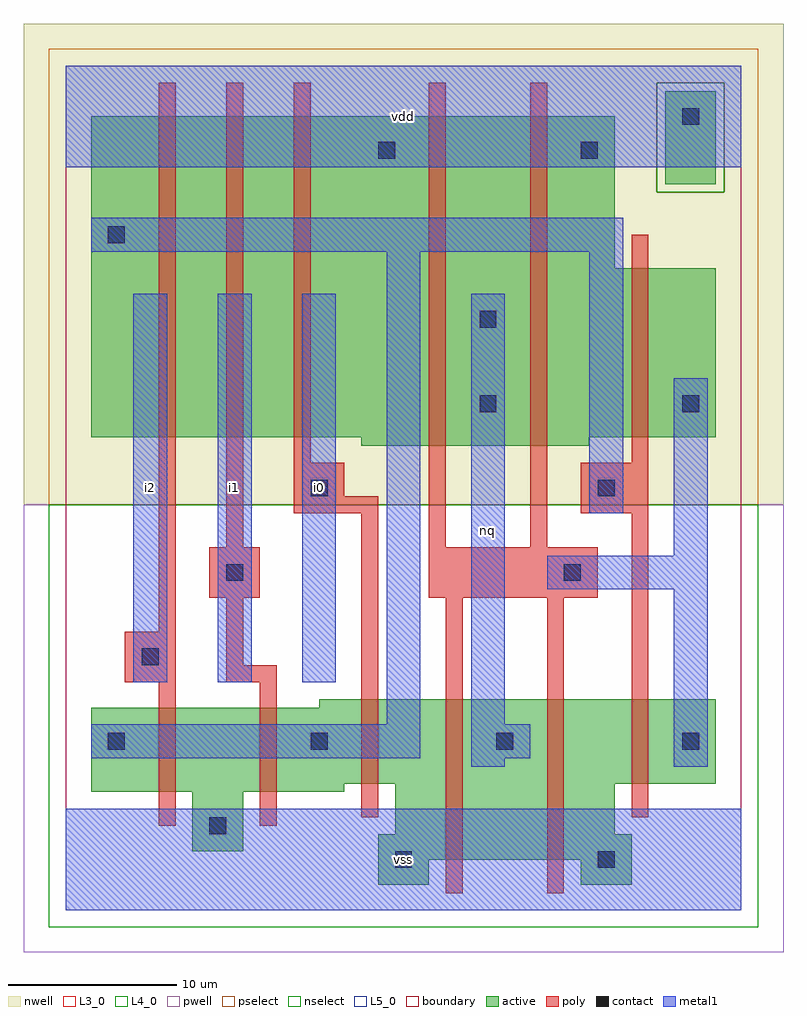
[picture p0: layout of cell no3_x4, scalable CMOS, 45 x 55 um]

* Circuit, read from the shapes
.subckt no3_x4 i0 i1 i2 nq vdd vss
M1 vss i2 n1 VSUBS nfet w=5u l=1u
M2 n1 i1 vss VSUBS nfet w=5u l=1u
M3 vss i0 n1 VSUBS nfet w=5u l=1u
M4 nq n2 vss VSUBS nfet w=9.5u l=1u m=2
M5 n2 n1 vss VSUBS nfet w=5u l=1u
M6 n3 i2 n1 vdd pfet w=19u l=1u
M7 n4 i1 n3 vdd pfet w=19u l=1u
M8 vdd i0 n4 vdd pfet w=19u l=1u
M9 nq n2 vdd vdd pfet w=19.5u l=1u m=2
M10 n2 n1 vdd vdd pfet w=10u l=1u
.ends

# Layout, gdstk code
import gdstk
lib = gdstk.Library(unit=1e-6, precision=1e-09)
def R(c, l, rs):  # rectangles x0, y0, x1, y1
    for r in rs: c.add(gdstk.rectangle(r[:2], r[2:], *l))
def A(c, l, x, y, w, h, nx, ny, dx, dy):  # array of equal rectangles
    R(c, l, [(x+i*dx, y+j*dy, x+i*dx+w, y+j*dy+h) for i in range(nx) for j in range(ny)])
L3_0 = (3, 0)
L4_0 = (4, 0)
L5_0 = (5, 0)
contact = (25, 0)
pwell = (41, 0)
nwell = (42, 0)
active = (43, 0)
pselect = (44, 0)
nselect = (45, 0)
poly = (46, 0)
metal1 = (49, 0)
boundary = (63, 0)

no3_x4 = lib.new_cell('no3_x4')
R(no3_x4, L3_0, [(18.5,1.5,21.5,3), (30.5,1.5,33.5,3), (18.5,3,33.5,4.5), (7.5,3.5,10.5,7), (19.5,4.5,32.5,7.5), (1.5,7,16.5,7.5), (1.5,7.5,38.5,12), (15,12,38.5,12.5)])
R(no3_x4, L4_0, [(17.5,27.5,31,28), (1.5,28,38.5,38), (1.5,38,32.5,47)])
R(no3_x4, L5_0, [(35.5,43,38.5,48.5)])
A(no3_x4, contact, 14.5, 9.5, 1, 1, 3, 1, 11, 0)
R(no3_x4, contact, [(19.5,2.5,20.5,3.5), (31.5,2.5,32.5,3.5), (8.5,4.5,9.5,5.5), (2.5,9.5,3.5,10.5), (4.5,14.5,5.5,15.5), (9.5,19.5,10.5,20.5), (29.5,19.5,30.5,20.5), (14.5,24.5,15.5,25.5), (31.5,24.5,32.5,25.5), (24.5,29.5,25.5,30.5), (36.5,29.5,37.5,30.5), (24.5,34.5,25.5,35.5), (2.5,39.5,3.5,40.5), (18.5,44.5,19.5,45.5), (30.5,44.5,31.5,45.5), (36.5,46.5,37.5,47.5)])
R(no3_x4, pwell, [(-2.5,-2.5,42.5,24)])
R(no3_x4, nwell, [(-2.5,24,42.5,52.5)])
R(no3_x4, active, [(18.5,1.5,21.5,3), (30.5,1.5,33.5,3), (18.5,3,33.5,4.5), (7.5,3.5,10.5,7), (19.5,4.5,32.5,7.5), (1.5,7,16.5,7.5), (1.5,7.5,38.5,12), (15,12,38.5,12.5), (17.5,27.5,31,28), (1.5,28,38.5,38), (1.5,38,32.5,47), (35.5,43,38.5,48.5)])
R(no3_x4, pselect, [(-1,24,41,42.5), (-1,42.5,35,49), (39,42.5,41,49), (-1,49,41,51)])
R(no3_x4, nselect, [(-1,-1,41,24), (35,42.5,39,49)])
R(no3_x4, poly, [(22.5,1,23.5,18.5), (28.5,1,29.5,18.5), (5.5,5,6.5,13.5), (11.5,5,12.5,13.5), (17.5,5.5,18.5,23.5), (33.5,5.5,34.5,23.5), (3.5,13.5,6.5,16.5), (9.5,13.5,12.5,14.5), (9.5,14.5,10.5,18.5), (5.5,16.5,6.5,49), (8.5,18.5,11.5,21.5), (21.5,18.5,31.5,21.5), (9.5,21.5,10.5,49), (21.5,21.5,22.5,49), (27.5,21.5,28.5,49), (13.5,23.5,18.5,24.5), (30.5,23.5,34.5,26.5), (13.5,24.5,16.5,26.5), (13.5,26.5,14.5,49), (33.5,26.5,34.5,40)])
R(no3_x4, metal1, [(0,0,40,6), (0,0,40,6), (24,8.5,26,9), (24,8.5,26,9), (36,8.5,38,19), (36,8.5,38,19), (1.5,9,21,11), (1.5,9,21,11), (24,9,27.5,11), (24,9,27.5,11), (19,11,21,39), (19,11,21,39), (24,11,26,36.5), (24,11,26,36.5), (4,13.5,6,36.5), (4,13.5,6,36.5), (9,13.5,11,36.5), (9,13.5,11,36.5), (14,13.5,16,36.5), (14,13.5,16,36.5), (28.5,19,38,21), (28.5,19,38,21), (36,21,38,31.5), (36,21,38,31.5), (31,23.5,33,39), (31,23.5,33,39), (1.5,39,33,41), (1.5,39,33,41), (0,44,40,50), (0,44,40,50)])
R(no3_x4, boundary, [(0,0,40,50)])
no3_x4.add(gdstk.Label('i2', (5,25), layer=49, texttype=0))
no3_x4.add(gdstk.Label('i0', (15,25), layer=49, texttype=0))
no3_x4.add(gdstk.Label('i1', (10,25), layer=49, texttype=0))
no3_x4.add(gdstk.Label('vss', (20,3), layer=49, texttype=0))
no3_x4.add(gdstk.Label('nq', (25,22.5), layer=49, texttype=0))
no3_x4.add(gdstk.Label('vdd', (20,47), layer=49, texttype=0))

lib.write_gds('no3_x4.gds')
